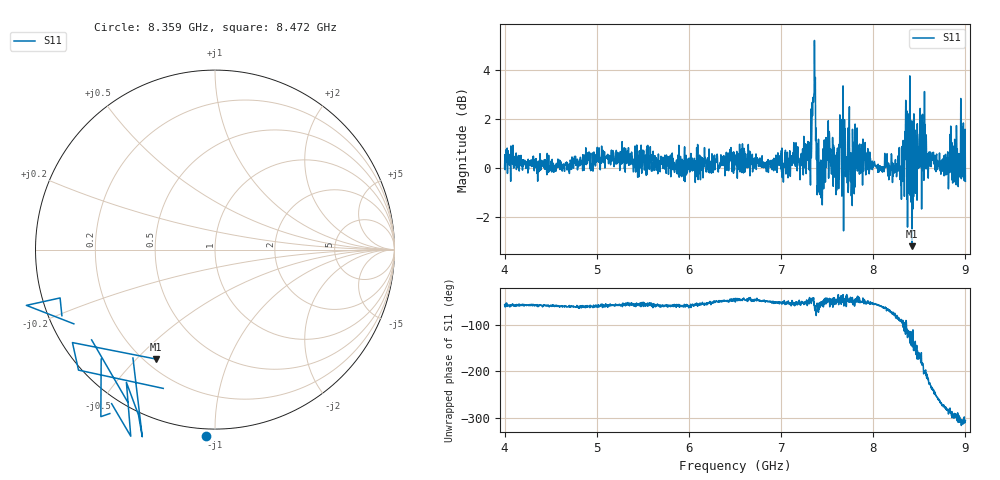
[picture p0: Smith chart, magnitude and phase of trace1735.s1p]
! Created with skrf 1.8.0 (http://scikit-rf.org).
# Hz S RI R 50.0
!freq ReS11 ImS11
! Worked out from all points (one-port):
!   1601 points, 4 GHz to 9 GHz, reference 50 ohm
!   lowest |S11| = -3.2 dB at 8.422 GHz (marker M1), VSWR 5.50, Z = 12.2 - j28.6 ohm
!   |S11| at or under -10 dB: nowhere
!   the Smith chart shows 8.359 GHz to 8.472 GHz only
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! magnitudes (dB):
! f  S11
! 4 GHz  0.0
! 4.625 GHz  -0.1
! 5.25 GHz  -0.1
! 5.875 GHz  0.0
! 6.5 GHz  0.3
! 7.125 GHz  0.3
! 7.294 GHz  0.5
! 7.328 GHz  0.4
! 7.347 GHz  2.9
! 7.362 GHz  5.2
! 7.4 GHz  0.1
! 7.416 GHz  -0.9
! 7.512 GHz  1.9
! 7.606 GHz  0.6
! 7.647 GHz  1.5
! 7.75 GHz  0.6
! 7.775 GHz  1.6
! 7.828 GHz  -0.1
! 8.312 GHz  0.9
! 8.338 GHz  -1.2
! 8.375 GHz  1.0
! 8.422 GHz  -3.2
! 8.447 GHz  1.2
! 8.553 GHz  0.4
! 8.606 GHz  0.1
! 8.806 GHz  0.6
! 8.972 GHz  0.7
! 9 GHz  -0.5
